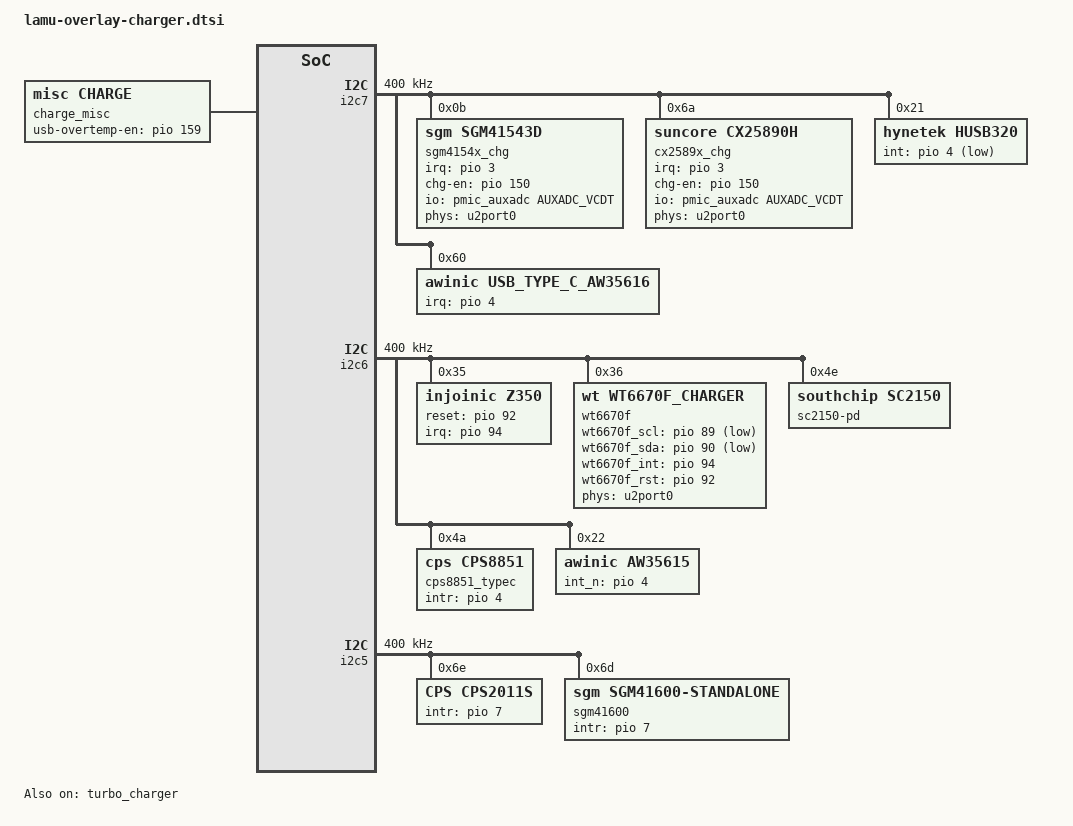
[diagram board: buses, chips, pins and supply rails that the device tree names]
/*[TN.NJDC] charger overlay file.start*/
#include <dt-bindings/iio/mt635x-auxadc.h>
#include <dt-bindings/phy/phy.h>
#include <dt-bindings/pinctrl/mt6768-pinfunc.h>

&lk_charger {
	/* charging current */
	usb_charger_current = <500000>;
	ac_charger_current = <2000000>;
	ac_charger_input_current = <1800000>;
	charging_host_charger_current = <1500000>;
	ta_ac_charger_current = <1500000>;
	pd_charger_current = <1500000>;
	max_charger_voltage = <9500000>;
	led_brightness = <102>;
};

&charger {
	battery_cv = <4500000>;
	max_charger_voltage = <11000000>;
	min_charger_voltage = <4700000>;
	hvdcp_input_current_limit = <3000000>;
	hvdcp_charging_current_limit = <3600000>;
	pdc_input_current_limit = <3000000>;
	pdc_charging_current_limit = <3600000>;
	/* battery temperature protection */
	enable_min_charge_temp;
	min_charge_temp = <(-20)>;
	min_charge_temp_plus_x_degree = <(-17)>;
	max_charge_temp = <60>;
	max_charge_temp_minus_x_degree = <57>;
	/* charging current */
	usb_charger_current = <500000>;
	ac_charger_current = <2400000>;
	ac_charger_input_current = <2200000>;
	charging_host_charger_current = <1500000>;
	/* sw jeita */
	enable_sw_jeita;
	jeita_temp_above_t4_cv = <4200000>;
	jeita_temp_t3_to_t4_cv = <4200000>;
	jeita_temp_t2_to_t3_cv = <4500000>;
	jeita_temp_t1_to_t2_cv = <4500000>;
	jeita_temp_t0_to_t1_cv = <4200000>;
	jeita_temp_below_t0_cv = <4040000>;
	jeita_temp_above_t4_icurrent = <0>;
	jeita_temp_t3_to_t4_icurrent = <2550000>;
	jeita_temp_t2_to_t3_icurrent = <3600000>;
	jeita_temp_t1_to_t2_icurrent = <2550000>;
	jeita_temp_t0_to_t1_icurrent = <1000000>;
	jeita_temp_below_t0_icurrent = <0>;
	temp_t4_thres = <60>;
	temp_t4_thres_minus_x_degree = <57>;
	temp_t3_thres = <45>;
	temp_t3_thres_minus_x_degree = <42>;
	temp_t2_thres = <15>;
	temp_t2_thres_plus_x_degree = <18>;
	temp_t1_thres = <0>;
	temp_t1_thres_plus_x_degree = <3>;
	temp_t0_thres = <(-20)>;
	temp_t0_thres_plus_x_degree = <(-17)>;
	temp_neg_10_thres = <(-22)>;
/* TN Begin modified by xinjun.lu/860715 20240814 CR/EKLAMU-202 */
	eoc_current = <200000>;
	/*pe50 config*/
	pe50,iterm-ma = <300>;
	pe50,pe50-temp-zones = <0 4208 1000 1000>,
			<10 4250 2900 1750>,
			<10 4500 1750 1750>,
			<15 4500 2900 2900>,
			<45 4320 6000 5200>,
			<45 4450 5200 4000>,
			<45 4530 4000 4000>,
			<60 4208 2900 0>;
	pe50,pe50-ffc-zones = <0 4208 300>,
			<15 4496 300>,
			<25 4528 738>,
			<35 4528 907>,
			<45 4528 1500>,
			<60 4208 300>;
/* TN End modified by xinjun.lu/860715 20240905 CR/EKLAMU-202 */
	/* ffc bat cfg */
	ffc-batt-zone = <0 4208 300>,
			<15 4496 300>,
			<25 4528 738>,
			<35 4528 907>,
			<45 4528 1500>,
			<60 4208 300>;
};

/* TN Begin modified by xinjun.lu/860715 20240905 CR/EKLAMU-202 */
&pe5 {
	polling-interval = <500>;
	vbat-cv = <4530>;
	start-soc-min = <0>;
	start-soc-max = <90>;
	stop-soc-max = <90>;
	vbat-max-gap = <30>;
	idvchg-term = <300>;
	/* ffc */
	pe5_therm_cur_thres = <500>;
	pe5_therm_vol_thres = <80>;
	pe5_therm_step = <3>;
	pe5_max_ibat = <6000>;
	tta-level-def = <0 0 0 0 25 40 50 60 70>;
	tta-curlmt = <0 0 0 0 0 300 600 900 (-1)>;
	tbat-level-def = <0 0 0 5 25 40 50 55 60>;
	tbat-curlmt = <(-1) (-1) (-1) 300 0 300 600 900 (-1)>;
	tdvchg-level-def = <0 0 0 5 25 55 70 85 90>; /* {0, 0, 0, 5, 25, 55, 60, 65, 70} */
	tdvchg-curlmt = <(-1) (-1) (-1) (-1) (-1) (-1) (-1) 900 (-1)>; /* {-1, -1, -1, 300, 0, 300, 600, 900, -1} */
	tswchg-level-def = <0 0 0 5 25 55 60 65 70>;
	tswchg-curlmt = <(-1) (-1) (-1) 200 0 200 300 400 (-1)>;
};
/* TN End modified by xinjun.lu/860715 20240905 CR/EKLAMU-202 */

&pdc {
	min_charger_voltage = <4600000>;
	pd_vbus_low_bound = <5000000>;
	pd_vbus_upper_bound = <9000000>;
	vsys_watt = <5000000>;
	ibus_err = <50>;

	/* single charger */
	sc_input_current = <3000000>;
	sc_charger_current = <3600000>;
};

&turbo_charger {
	compatible = "tinno,turbo_charger";
	status = "okay";
	gauge = <&mtk_gauge>;

	volt-steps = <20000>; /*uV*/
	curr-steps = <40000>; /*uA*/
	volt-max = <11000000>; /*uV*/
	curr-max = <3100000>; /*uA*/
	batt-curr-boost = <300000>; /*uA*/
	batt-ovp-limit = <4800000>; /*uV*/
	pl-chrg-vbatt-min = <3600000>; /*uV*/
	typec-middle-current = <1500000>; /*uA*/
	step-first-current-comp = <0>;
	temp-zones-num = <6>;
	turbo-chrg-temp-zones = <0  4208 1000 0    0    0    0   >,
				<10 4250 2900 4500 1750 0    0   >,
				<15 4500 2900 0    0    0    0   >,
				<35 4320 6000 4450 5200 4530 4000>,
				<45 4320 6000 4450 5200 4530 4000>,
				<60 4208 2900 0    0    0    0   >;
	thermal-min-level = <1000000>; /*uA*/
	sw-charging-curr-limited = <100000>; /*uA*/
	charging-curr-min = <1200000>; /*uA*/
	turbo-volt-comp = <300000>; /*uV*/
};

&pio {
	wt6670f_int_isp: wt6670t_int_isp {
		pin_cmd_dat {
			pinmux = <PINMUX_GPIO94__FUNC_GPIO94>;
			slew-rate = <0>;
			bias-pull-up = <1>;
			input-enable;
		};
	};

	wt6670f_default: wt6670t_default {
	};

	wt6670f_rst_normal: wt6670t_rst_normal {
		pin_cmd_dat {
			pinmux = <PINMUX_GPIO92__FUNC_GPIO92>;
			slew-rate = <1>;
			bias-disable;
			output-high;
		};
	};

	wt6670f_rst_isp: wt6670t_rst_isp {
		pin_cmd_dat {
			pinmux = <PINMUX_GPIO92__FUNC_GPIO92>;
			slew-rate = <1>;
			bias-disable;
			output-low;
		};
	};

	wt6670f_sda_normal: wt6670t_sda_normal {
		pin_cmd_dat {
			pinmux = <PINMUX_GPIO90__FUNC_SDA6>;
			slew-rate = <0>;
			bias-pull-up = <1>;
		};
	};

	wt6670f_sda_isp: wt6670t_sda_isp {
		pin_cmd_dat {
			pinmux = <PINMUX_GPIO90__FUNC_GPIO90>;
			slew-rate = <1>;
			output-low;
		};
	};

	wt6670f_scl_normal: wt6670t_scl_normal {
		pin_cmd_dat {
			pinmux = <PINMUX_GPIO89__FUNC_SCL6>;
			slew-rate = <0>;
			bias-pull-up = <1>;
		};
	};

	wt6670f_scl_isp: wt6670t_scl_isp {
		pin_cmd_dat {
			pinmux = <PINMUX_GPIO89__FUNC_GPIO89>;
			slew-rate = <1>;
			output-low;
		};
	};
};

&i2c7 {
	clock-frequency = <400000>;
	status = "ok";

	sgm4154x_chg: sgm41543@0B {
		status = "okay";
		compatible = "sgm,sgm41543D";
		reg = <0x0B>;

		io-channels = <&pmic_auxadc AUXADC_VCDT>;
		io-channel-names = "pmic_vbus";
		phys = <&u2port0 PHY_TYPE_USB2>;
		phy-names = "usb2-phy";

		sgm,irq-gpio = <&pio 3 IRQ_TYPE_EDGE_FALLING>;     //irq num base on hardware design
		sgm,chg-en-gpio = <&pio 150 0>;   //gpio num base on hardware design  1.MTK parent node name is pio  2.QUALCOMM parent node name is tlmm or other
	};

	cx2589x_chg: cx2589x@6A {
		status = "okay";
		compatible = "suncore,cx25890h";
		reg = <0x6A>;

		io-channels = <&pmic_auxadc AUXADC_VCDT>;
		io-channel-names = "pmic_vbus";
		phys = <&u2port0 PHY_TYPE_USB2>;
		phy-names = "usb2-phy";

		cx,irq-gpio = <&pio 3 IRQ_TYPE_EDGE_FALLING>;     //irq num base on hardware design
		cx,chg-en-gpio = <&pio 150 0>;   //gpio num base on hardware design  1.MTK parent node name is pio  2.QUALCOMM parent node name is tlmm or other
	};

	husb320@21 {
		status = "okay";
		compatible = "hynetek,husb320";
		reg = <0x21>;
		husb320,int-gpio = <&pio 4 1>;
		husb320,int-gpio_num = <4>;
		husb320,init-mode = <20>;                       /* try sink, DRP */
		husb320,host-current = <2>;                     /* 180uA host current */
		husb320,drp-toggle-time =  <1>;                 /* 70ms */
		husb320,drp-duty-time = <0>;                    /* 60 duty time */
		husb320,autosink-threshold = <1>;               /* 3P1V */
		husb320,cc-debounce-time = <3>;                 /* 150ms */
	};

	usb_type_c_aw35616@60 {
		status = "okay";
		compatible = "awinic,usb_type_c_aw35616";
		reg = <0x60>;
		aw35616,irq-gpio = <&pio 4 0x0>;
		aw35616-tcpc,name = "type_c_port0";
		aw35616-tcpc,role_def = <5>; /* 1: SNK Only, 2: SRC Only, 3: DRP, 4: Try.SRC, 5: Try.SNK */
		aw35616,rp_level = <0>; /* 0: Default, 1: 1.5, 2: 3.0 */
		aw35616-tcpc,notifier_supply_num = <3>; /* the number of notifier supply */
		aw35616_acc_support = <0>; /* 0:support, 1:No support */
		aw35616_toggle_cycle = <0>; /* 0:Disable, 1:40ms, 2:80ms, 3:160ms */
	};
};

&i2c6 {
	clock-frequency = <400000>;
	status = "ok";

	z350@35 {
		compatible = "injoinic,z350";
		reg = <0x35>;
		z350,reset_gpio = <&pio 92 IRQ_TYPE_EDGE_RISING>;
		z350,irq_gpio = <&pio 94 IRQ_TYPE_EDGE_FALLING>;
		z350,qc3-vset-mv = <9000>;
		interrupt-names = "z350_irq";
		status = "okay";
	};

	wt6670f@36 {
		compatible = "wt,wt6670f_charger";
		reg = <0x36>;
		status = "okay";

		phys = <&u2port0 PHY_TYPE_USB2>;
		phy-names = "usb2-phy";

		pinctrl-names = "default",  "rst_normal", "rst_isp", "scl_normal", "scl_isp", "sda_normal", "sda_isp";
		pinctrl-0 = <&wt6670f_default>;
		pinctrl-1 = <&wt6670f_rst_normal>;
		pinctrl-2 = <&wt6670f_rst_isp>;
		pinctrl-3 = <&wt6670f_scl_normal>;
		pinctrl-4 = <&wt6670f_scl_isp>;
		pinctrl-5 = <&wt6670f_sda_normal>;
		pinctrl-6 = <&wt6670f_sda_isp>;

		wt,wt6670f_scl_gpio = <&pio 89 0x01>;
		wt,wt6670f_sda_gpio = <&pio 90 0x01>;
		wt,wt6670f_int_gpio = <&pio 94 IRQ_TYPE_EDGE_RISING>;
		wt,wt6670f_rst_gpio = <&pio 92 IRQ_TYPE_EDGE_FALLING>;
	};

	sc2150-pd@4e{
		compatible = "southchip,sc2150";
		reg = <0x4E>;
		status = "okay";
		sc-tcpc,name = "type_c_port0"; /* tcpc_device's name */
		sc-tcpc,role_def = <5>; /* 0: Unknown, 1: SNK, 2: SRC */
					/* 3: DRP, 4: Try.SRC, 5: Try.SNK */
		sc-tcpc,rp_level = <0>; /* 0: Default, 1: 1.5, 2: 3.0 */
		sc-tcpc,vconn_supply  = <1>;  /* 0: Never, 1: Always, */
					      /* 2: EMarkOnly, 3: StartOnly */
		sc-tcpc,notifier_supply_num = <2>;
		sc2150,intr_gpio_num = <516>;
		pd-data {
			pd,vid = <0x311c>;
			pd,pid = <0x2150>;
			pd,source-cap-ext = /bits/ 8 <0x1c 0x31 0x00 0x66
						      0x00 0x00 0x00 0x00
						      0x00 0x00 0x00 0x00
						      0x00 0x00 0x00 0x00
						      0x00 0x00 0x00 0x00
						      0x00 0x00 0x01 0x02
						      0x00>;
			pd,sink-cap-ext = /bits/ 8 <0x1c 0x31 0x00 0x66
							   0x00 0x00 0x00 0x00
							   0x01 0x00 0x00 0x00
							   0x00 0x00 0x00 0x00
							   0x01 0x00 0x00 0x00
							   0x00 0x00 0x00 0x00>;
			pd,mfrs = "SouthChip";
			/*
			 *	VSAFE5V = 0, MAX_POWER = 1, CUSTOM = 2,
			 *	MAX_POWER_LV = 0x21, MAX_POWER_LVIC = 0x31
			 *	MAX_POWER_HV = 0x41, MAX_POWER_HVIC = 0x51
			 */
			pd,charging_policy= <0x31>;
			/*
			 * Fixed 5V, 500 mA <0x00019032>
			 * Fixed 5V, 1A <0x00019064>
			 * Fixed 5V, 2A <0x000190c8>
			 * Fixed 5V, 3A <0x0001912c>
			 * Fixed 9V, 500 mA <0x0002d032>
			 * Fixed 9V, 1A <0x0002d064>
			 * Fixed 9V, 2A <0x0002d0c8>
			 * Fixed 9V, 3A <0x0002d12c>
			 * Variable 5-9V, 1A <0x8642d064>
			 * Variable 5-9V, 2A <0x8642d0c8>
			 * Variable 5-9V, 3A <0x8642d12c>
			 * PPS 3V~5.9V, 3A <0xC0761E3C>
			 */
			pd,source-pdo-size = <1>;
			/* Fixed 5V,1.5A */
			pd,source-pdo-data = <0x00019096>;
			pd,sink-pdo-size = <1>;
			pd,sink-pdo-data = <0x000190c8>;
			/*0110 1110 0011 0010
			 * No DP, host + device
			 *	pd,id-vdo-size = <6>;
			 *	pd,id-vdo-data = <0xd14029cf 0x0 0x17110000
						  0x61000000 0x0 0x41000000>;
			 * With DP
			 *	pd,id-vdo-size = <6>;
			 *	pd,id-vdo-data = <0xd54029cf 0x0 0x17110000
						  0x61000000 0x0 0x41000000>;
			 */
			pd,id-vdo-size = <6>;
			pd,id-vdo-data = <0xd14029cf 0x0 0x17110000
						  0x61000000 0x0 0x41000000>;
			bat,nr = <1>;
			pd,country_nr = <0>;
			bat-info0 {
				bat,vid = <0x311c>;
				bat,pid = <0x2150>;
				bat,mfrs = "bat1";
				bat,design_cap = <3000>;
			};
		};
		dpm_caps {
			local_dr_power;
			local_dr_data;
			//local_ext_power;
			local_usb_comm;
			//local_usb_suspend;
			//local_high_cap;
			//local_give_back;
			local_no_suspend;
			local_vconn_supply;
			//attempt_discover_cable_dfp;
			//attempt_enter_dp_mode;
			attempt_discover_cable;
			attempt_discover_id;
			attempt_discover_svid;
			/* 0: disable, 1: prefer_snk, 2: prefer_src */
			pr_check = <0>;
			//pr_reject_as_source;
			//pr_reject_as_sink;
			//pr_check_gp_source;
			//pr_check_gp_sink;
			/* 0: disable, 1: prefer_ufp, 2: prefer_dfp */
			dr_check = <0>;
			//dr_reject_as_dfp;
			//dr_reject_as_ufp;
		};
		displayport {
			/* connection type = "both", "ufp_d", "dfp_d" */
			1st_connection = "dfp_d";
			2nd_connection = "dfp_d";
			signal,dp_v13;
			//signal,dp_gen2;
			//usbr20_not_used;
			typec,receptacle;
			ufp_d {
				//pin_assignment,mode_a;
				//pin_assignment,mode_b;
				//pin_assignment,mode_c;
				//pin_assignment,mode_d;
				//pin_assignment,mode_e;
			};
			dfp_d {
				//pin_assignment,mode_a;
				//pin_assignment,mode_b;
				pin_assignment,mode_c;
				pin_assignment,mode_d;
				pin_assignment,mode_e;
				//pin_assignment,mode_f;
			};
		};
	};

	cps8851_typec: cps8851@4a {
		compatible = "cps,cps8851";
		reg = <0x4a>;
		status = "okay";
		rt-tcpc,name = "type_c_port0"; /* tcpc_device's name */
		rt-tcpc,role_def = <5>; /* 0: Unknown, 1: SNK, 2: SRC */
					/* 3: DRP, 4: Try.SRC, 5: Try.SNK */
		rt-tcpc,rp_level = <0>; /* 0: Default, 1: 1.5, 2: 3.0 */
		rt-tcpc,vconn_supply = <3>;  /* 0: Never, 1: Always, */
						/* 2: EMarkOnly, 3: StartOnly */
		rt1711pd,intr_gpio = <&pio 4 0x0>;
		rt1711pd,intr_gpio_num = <4>;
		pd-data {
			pd,vid = <0x315c>;
			pd,pid = <0x8851>;
			pd,source-cap-ext = <0x8851315c 0x00000000 0x00000000
						0x00000000 0x00000000 0x06000000 0x00000000>;
			pd,sink-cap-ext = <0x8851315c  0x00000000 0x00010000
						0x00000000 0x05000000 0x0000000f>;
			pd,mfrs = "CPS_TCPC";

			/*
			*    VSAFE5V = 0, MAX_POWER = 1, CUSTOM = 2,
			*    MAX_POWER_LV = 0x21, MAX_POWER_LVIC = 0x31
			*    MAX_POWER_HV = 0x41, MAX_POWER_HVIC = 0x51
			*/
			pd,charging_policy= <0x31>;

			/*
			* Fixed 5V, 500 mA <0x00019032>
			* Fixed 5V, 1A <0x00019064>
			* Fixed 5V, 2A <0x000190c8>
			* Fixed 5V, 3A <0x0001912c>
			* Fixed 9V, 500 mA <0x0002d032>
			* Fixed 9V, 1A <0x0002d064>
			* Fixed 9V, 2A <0x0002d0c8>
			* Fixed 9V, 3A <0x0002d12c>
			* Variable 5-9V, 1A <0x8642d064>
			* Variable 5-9V, 2A <0x8642d0c8>
			* Variable 5-9V, 3A <0x8642d12c>
			* PPS 3V~5.9V, 3A <0xC0761E3C>
			*/
			pd,source-pdo-size = <1>;
			/* Fixed 5V,1.5A */
			pd,source-pdo-data = <0x00019096>;
			pd,sink-pdo-size = <1>;
			pd,sink-pdo-data = <0x000190c8>;

			/*
			* No DP, host + device
			*    pd,id-vdo-size = <3>;
			*    pd,id-vdo-data = <0xd10029cf 0x0 0x17110000>;
			* With DP
			*    pd,id-vdo-size = <3>;
			*    pd,id-vdo-data = <0xd60029cf 0x0 0x17110000
			*/

			pd,id-vdo-size = <6>;
			pd,id-vdo-data = <0xd140315c 0x0 0x88510000
								0x61000000 0x0 0x41000000>;

			bat,nr = <1>;
			pd,country_nr = <0>;

			bat-info0 {
				bat,vid = <0x315c>;
				bat,pid = <0x8851>;
				bat,mfrs = "bat1";
				bat,design_cap = <5000>;
			};

		//	bat-info1 {
			//	bat,vid = <0x8abc>;
			//	bat,pid = <0x5234>;
			//	bat,mfrs = "bat2";
			//	bat,design_cap = <4000>;
		//	};

		//	country0 {
			//	pd,country_code = <0x5457>;
			//	pd,country_len = <2>; /* max len = 26 */
			//	pd,country_data = <0xff 0xff>;
		//	};

		//	country1 {
			//	pd,country_code = <0x5553>;
			//	pd,country_len = <3>; /* max len = 26 */
			//	pd,country_data = <0xf1 0xf2 0xf3>;
		//	};
		};

		dpm_caps {
			local_dr_power;
			local_dr_data;
			//local_ext_power;
			local_usb_comm;
			//local_usb_suspend;
			//local_high_cap;
			//local_give_back;

			//local_no_suspend;
			//local_vconn_supply;


			//attemp_discover_cable_dfp;
			// attemp_enter_dp_mode;
			// attemp_discover_cable;
			// attemp_discover_id;

			/* 0: disable, 1: prefer_snk, 2: prefer_src */
			pr_check = <0>;

			//pr_reject_as_source;
			//pr_reject_as_sink;


			//pr_check_gp_source;
			//pr_check_gp_sink;

			/* 0: disable, 1: prefer_ufp, 2: prefer_dfp */
			dr_check = <0>;
			//dr_reject_as_dfp;
			//dr_reject_as_ufp;
		};
	};

	aw35615@22 {
		compatible = "awinic,aw35615";
		reg = <0x22>;
		awinic,int_n = <&pio 4 0x0>;
		aw35615,snk_pdo_size = <2>; /* set sink pdo num*/
		aw35615,snk_pdo_vol = <5000 9000>; /* set sink pdo voltage mV*/
		aw35615,snk_pdo_cur = <3000 2000>; /* set sink pdo current mA*/
		aw35615,src_pdo_size = <1>; /* set source pdo num*/
		aw35615,src_pdo_vol = <5000>; /* set source pdo voltage mV*/
		aw35615,src_pdo_cur = <2000>; /* set source pdo current mA*/
		aw35615,snk_tog_time = <0x38>; /* set toggle sink time */
		aw35615,src_tog_time = <0x24>; /* set toggle source time */
		status = "okay";
	};
};

&i2c5 {
	clock-frequency = <400000>;
	status = "ok";

	cps2011s@6E {
		status = "ok";
		compatible = "CPS,cps2011s";
		reg = <0x6E>;
		chg_name = "primary_dvchg";
		rm_name = "cps2011s";
		cps2011s,intr = <&pio 7 IRQ_TYPE_EDGE_RISING>;
	};

	sgm41600@6D {
		status = "okay";
		compatible = "sgm,sgm41600-standalone";
		reg = <0x6D>; // due to the same slave address as CPS2011S, set an fake slave address instead.
		sgm41600,intr_gpio = <&pio 7 IRQ_TYPE_EDGE_RISING>;
		//sgm41600,intr_gpio = <&gpio1 RK_PD1 IRQ_TYPE_EDGE_FALLING>;    /*GPIO1_D1*/
		charger_name = "primary_dvchg";
		charger_name_v4_19 = "primary_divider_chg";

		sgm,sgm41600,vbat-ovp-en = <1>;
		sgm,sgm41600,vbat-ovp = <24>;	//4V + BAT_OVP[5:0] × 25mV
		sgm,sgm41600,ibat-ocp-en = <0>;
		sgm,sgm41600,ibat-ocp  = <28>; //3A + IBAT_OCP[5:0] × 100mA
		sgm,sgm41600,vac-ovp-en = <1>;
		sgm,sgm41600,vac-ovp = <9>;//4V + AC_OVP[3:0] × 1V
		sgm,sgm41600,vbus-ovp-en = <1>;
		sgm,sgm41600,vbus-ovp = <75>; //4V + BUS_OVP[6:0] × 100mV
		sgm,sgm41600,ibus-ocp-en = <1>;
		sgm,sgm41600,ibus-ocp  = <7>; // 1.5A + IBUS_OCP[4:0] × 100mA; bypass mode:2.5A + IBUS_OCP[4:0] × 100mA
		sgm,sgm41600,vout-ovp-en = <1>;
		sgm,sgm41600,vout-ovp = <1>;	//4.6V + VOUT_OVP[1:0] × 200mV
		sgm,sgm41600,ibus-ucp-fall-en = <1>;
		sgm,sgm41600,ibus-ucp-fall  = <1>; /*0 = IBUS_UCP_R = 300mA rising, IBUS_UCP_F = 150mA falling；1 = IBUS_UCP_R = 500mA rising, IBUS_UCP_F = 250mA falling*/

		sgm,sgm41600,ibat-reg = <0>;/*0:200mA 1:300mA 2:400mA 3:500mA*/
		sgm,sgm41600,vbat-reg = <0>;/*0:50mV 1:100mV 2:150mV 3:200mV*/

		sgm,sgm41600,vbus-low-en = <1>;
		sgm,sgm41600,vbus-low = <0>;/*0:1.01 1:1.02 2:1.03 3:1.04*/
		sgm,sgm41600,vbus-high-en = <1>;
		sgm,sgm41600,vbus-high = <3>;/*0:1.10 1:1.15 2:1.20 3:1.25*/

		sgm,sgm41600,vdrop-ovp-en = <1>;
		sgm,sgm41600,vdrop-ovp-deg = <0>;/*0:10us 1:5ms*/
		sgm,sgm41600,vdrop-ovp = <5>;/*Range: 50mV (000) - 400mV (111)*/
		sgm,sgm41600,fsw-set = <3>;/*0:300kHz 1:375 2:500 3:600 4:750 5:833 6:1000 7:1250*/
		sgm,sgm41600,wdt-dis = <1>;
		sgm,sgm41600,wd-timeout = <3>; /*0:0.5s 1:1s 2:2s 3:5s 4:10s 5:20s 6:40s 7:80s*/
		sgm,sgm41600,ibat-sns-r = <1>; /*0:2mho 1:5mho*/
		sgm,sgm41600,mode = <0>; /*0:off 1:bypass 2: Forward Charge-pump mode */
	};
};
&{/} {
	charge_misc{
		compatible = "misc,charge";
		usb-overtemp-en-gpio = <&pio 159 0>;
	};
};
/*[TN.NJDC] charger overlay file.end*/
